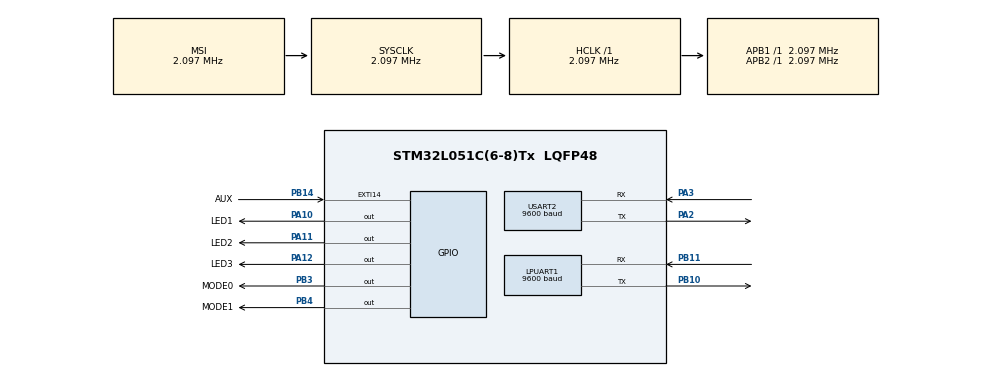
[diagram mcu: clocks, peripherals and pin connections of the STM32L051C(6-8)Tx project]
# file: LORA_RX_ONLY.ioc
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LPUART1.BaudRate=9600
LPUART1.WordLength=UART_WORDLENGTH_8B
Mcu.Family=STM32L0
Mcu.Name=STM32L051C(6-8)Tx
Mcu.Package=LQFP48
PA10.GPIO_Label=LED1
PA10.Signal=GPIO_Output
PA11.GPIO_Label=LED2
PA11.Signal=GPIO_Output
PA12.GPIO_Label=LED3
PA12.Signal=GPIO_Output
PA13.Mode=Serial_Wire
PA13.Signal=SYS_SWDIO
PA14.Mode=Serial_Wire
PA14.Signal=SYS_SWCLK
PA2.Mode=Asynchronous
PA2.Signal=USART2_TX
PA3.Mode=Asynchronous
PA3.Signal=USART2_RX
PB10.Mode=Asynchronous
PB10.Signal=LPUART1_TX
PB11.Mode=Asynchronous
PB11.Signal=LPUART1_RX
PB14.GPIO_Label=AUX
PB14.Signal=GPXTI14
PB3.GPIO_Label=MODE0
PB3.Signal=GPIO_Output
PB4.GPIO_Label=MODE1
PB4.Signal=GPIO_Output
ProjectManager.HeapSize=0x200
ProjectManager.StackSize=0x400
ProjectManager.TargetToolchain=STM32CubeIDE
RCC.AHBFreq_Value=2097000
RCC.APB1Freq_Value=2097000
RCC.APB1TimFreq_Value=2097000
RCC.APB2Freq_Value=2097000
RCC.APB2TimFreq_Value=2097000
RCC.HSE_VALUE=8000000
RCC.HSI16_VALUE=16000000
RCC.HSI_VALUE=16000000
RCC.LSE_VALUE=32768
RCC.MSI_VALUE=2097000
RCC.SYSCLKFreq_VALUE=2097000
RCC.VCOOutputFreq_Value=48000000
USART2.BaudRate=9600
USART2.VirtualMode-Asynchronous=VM_ASYNC
board=custom

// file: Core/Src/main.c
/* USER CODE BEGIN Header */
/**
 ******************************************************************************
 * @file           : main.c
 * @brief          : Main program body
 ******************************************************************************
 * @attention
 *
 * Copyright (c) 2024 STMicroelectronics.
 * All rights reserved.
 *
 * This software is licensed under terms that can be found in the LICENSE file
 * in the root directory of this software component.
 * If no LICENSE file comes with this software, it is provided AS-IS.
 *
 ******************************************************************************
 */
/* USER CODE END Header */
#include "main.h"

/* USER CODE BEGIN Includes */
#include "Lora.h"
/* USER CODE END Includes */

UART_HandleTypeDef hlpuart1;
UART_HandleTypeDef huart2;

void SystemClock_Config(void);
static void MX_GPIO_Init(void);
static void MX_LPUART1_UART_Init(void);
static void MX_USART2_UART_Init(void);

int main(void) {

	/* USER CODE BEGIN 1 */

	char message[200];          // Debug message buffer
	uint8_t lora[11];
	uint8_t rxBuffer[1];
	uint8_t transmitBuffer[20]; // Buffer to store modified data for transmission
	/* USER CODE END 1 */

	/* MCU Configuration--------------------------------------------------------*/

	/* Reset of all peripherals, Initializes the Flash interface and the Systick. */
	HAL_Init();

	/* Configure the system clock */
	SystemClock_Config();

	/* Initialize all configured peripherals */
	MX_GPIO_Init();
	MX_LPUART1_UART_Init();
	MX_USART2_UART_Init();
	/* USER CODE BEGIN 2 */
	LORA_MODE_M0_SET;
	LORA_MODE_M1_SET;
	HAL_Delay(1000);

	lora[0] = 0xc0;
	lora[1] = 0x00;
	lora[2] = 0x08;
	lora[3] = 0x00;
	lora[4] = 0x11;
	lora[5] = 0x67;
	lora[6] = 0x00;
	lora[7] = 0x12;
	lora[8] = 0x52;
	lora[9] = 0x00;
	lora[10] = 0x00;

	HAL_UART_Transmit(&hlpuart1, lora, 11, 2000);
	HAL_Delay(5000);

	LORA_MODE_M0_RESET;
	LORA_MODE_M1_RESET;

	HAL_Delay(1000);

	/* USER CODE END 2 */

	/* Infinite loop */
	/* USER CODE BEGIN WHILE */
	while (1) {
		// Clear rxBuffer
		rxBuffer[0] = 0;

		if (HAL_UART_Receive(&hlpuart1, rxBuffer, 1, 200) == HAL_OK) {
			// Blink LED1 to indicate data reception
			LED1_ON;
			HAL_Delay(100);

			// Prepare data for retransmission (prefix with 00, 16, 12)
			transmitBuffer[0] = 0x00;
			transmitBuffer[1] = 0x16;
			transmitBuffer[2] = 0x12;
			transmitBuffer[3] = rxBuffer[0]; // Add the received byte

			// Debug: Print received data to UART2
			sprintf(message, "Received from LoRa: %02d\r\n", rxBuffer[0]);
			port_debug_print(message);

			LED1_OFF;
			LED2_ON;

			// Transmit to LoRa (hlpuart1)
			HAL_UART_Transmit(&hlpuart1, transmitBuffer, 4, HAL_MAX_DELAY);
			HAL_Delay(200);
			LED2_OFF;
			// Turn off LED after processing
		}
		/* USER CODE END WHILE */

	}
}

void SystemClock_Config(void) {
	RCC_OscInitTypeDef RCC_OscInitStruct = { 0 };
	RCC_ClkInitTypeDef RCC_ClkInitStruct = { 0 };
	RCC_PeriphCLKInitTypeDef PeriphClkInit = { 0 };

	/** Configure the main internal regulator output voltage
	 */
	__HAL_PWR_VOLTAGESCALING_CONFIG(PWR_REGULATOR_VOLTAGE_SCALE1);

	/** Initializes the RCC Oscillators according to the specified parameters
	 * in the RCC_OscInitTypeDef structure.
	 */
	RCC_OscInitStruct.OscillatorType = RCC_OSCILLATORTYPE_MSI;
	RCC_OscInitStruct.MSIState = RCC_MSI_ON;
	RCC_OscInitStruct.MSICalibrationValue = 0;
	RCC_OscInitStruct.MSIClockRange = RCC_MSIRANGE_5;
	RCC_OscInitStruct.PLL.PLLState = RCC_PLL_NONE;
	if (HAL_RCC_OscConfig(&RCC_OscInitStruct) != HAL_OK) {
		Error_Handler();
	}

	/** Initializes the CPU, AHB and APB buses clocks
	 */
	RCC_ClkInitStruct.ClockType = RCC_CLOCKTYPE_HCLK | RCC_CLOCKTYPE_SYSCLK
			| RCC_CLOCKTYPE_PCLK1 | RCC_CLOCKTYPE_PCLK2;
	RCC_ClkInitStruct.SYSCLKSource = RCC_SYSCLKSOURCE_MSI;
	RCC_ClkInitStruct.AHBCLKDivider = RCC_SYSCLK_DIV1;
	RCC_ClkInitStruct.APB1CLKDivider = RCC_HCLK_DIV1;
	RCC_ClkInitStruct.APB2CLKDivider = RCC_HCLK_DIV1;

	if (HAL_RCC_ClockConfig(&RCC_ClkInitStruct, FLASH_LATENCY_0) != HAL_OK) {
		Error_Handler();
	}
	PeriphClkInit.PeriphClockSelection = RCC_PERIPHCLK_USART2
			| RCC_PERIPHCLK_LPUART1;
	PeriphClkInit.Usart2ClockSelection = RCC_USART2CLKSOURCE_PCLK1;
	PeriphClkInit.Lpuart1ClockSelection = RCC_LPUART1CLKSOURCE_PCLK1;
	if (HAL_RCCEx_PeriphCLKConfig(&PeriphClkInit) != HAL_OK) {
		Error_Handler();
	}
}

static void MX_LPUART1_UART_Init(void) {

	hlpuart1.Instance = LPUART1;
	hlpuart1.Init.BaudRate = 9600;
	hlpuart1.Init.WordLength = UART_WORDLENGTH_8B;
	hlpuart1.Init.StopBits = UART_STOPBITS_1;
	hlpuart1.Init.Parity = UART_PARITY_NONE;
	hlpuart1.Init.Mode = UART_MODE_TX_RX;
	hlpuart1.Init.HwFlowCtl = UART_HWCONTROL_NONE;
	hlpuart1.Init.OneBitSampling = UART_ONE_BIT_SAMPLE_DISABLE;
	hlpuart1.AdvancedInit.AdvFeatureInit = UART_ADVFEATURE_NO_INIT;
	if (HAL_UART_Init(&hlpuart1) != HAL_OK) {
		Error_Handler();
	}

}

static void MX_USART2_UART_Init(void) {

	huart2.Instance = USART2;
	huart2.Init.BaudRate = 9600;
	huart2.Init.WordLength = UART_WORDLENGTH_8B;
	huart2.Init.StopBits = UART_STOPBITS_1;
	huart2.Init.Parity = UART_PARITY_NONE;
	huart2.Init.Mode = UART_MODE_TX_RX;
	huart2.Init.HwFlowCtl = UART_HWCONTROL_NONE;
	huart2.Init.OverSampling = UART_OVERSAMPLING_16;
	huart2.Init.OneBitSampling = UART_ONE_BIT_SAMPLE_DISABLE;
	huart2.AdvancedInit.AdvFeatureInit = UART_ADVFEATURE_NO_INIT;
	if (HAL_UART_Init(&huart2) != HAL_OK) {
		Error_Handler();
	}

}

static void MX_GPIO_Init(void) {
	GPIO_InitTypeDef GPIO_InitStruct = { 0 };

	/* GPIO Ports Clock Enable */
	__HAL_RCC_GPIOA_CLK_ENABLE();
	__HAL_RCC_GPIOB_CLK_ENABLE();

	/*Configure GPIO pin Output Level */
	HAL_GPIO_WritePin(GPIOA, LED1_Pin | LED2_Pin | LED3_Pin, GPIO_PIN_RESET);

	/*Configure GPIO pin Output Level */
	HAL_GPIO_WritePin(GPIOB, MODE0_Pin | MODE1_Pin, GPIO_PIN_RESET);

	/*Configure GPIO pin : AUX_Pin */
	GPIO_InitStruct.Pin = AUX_Pin;
	GPIO_InitStruct.Mode = GPIO_MODE_IT_RISING;
	GPIO_InitStruct.Pull = GPIO_NOPULL;
	HAL_GPIO_Init(AUX_GPIO_Port, &GPIO_InitStruct);

	/*Configure GPIO pins : LED1_Pin LED2_Pin LED3_Pin */
	GPIO_InitStruct.Pin = LED1_Pin | LED2_Pin | LED3_Pin;
	GPIO_InitStruct.Mode = GPIO_MODE_OUTPUT_PP;
	GPIO_InitStruct.Pull = GPIO_NOPULL;
	GPIO_InitStruct.Speed = GPIO_SPEED_FREQ_LOW;
	HAL_GPIO_Init(GPIOA, &GPIO_InitStruct);

	/*Configure GPIO pins : MODE0_Pin MODE1_Pin */
	GPIO_InitStruct.Pin = MODE0_Pin | MODE1_Pin;
	GPIO_InitStruct.Mode = GPIO_MODE_OUTPUT_PP;
	GPIO_InitStruct.Pull = GPIO_NOPULL;
	GPIO_InitStruct.Speed = GPIO_SPEED_FREQ_LOW;
	HAL_GPIO_Init(GPIOB, &GPIO_InitStruct);

}

/* USER CODE BEGIN 4 */
void HAL_UART_RxCpltCallback(UART_HandleTypeDef *huart) {
	if (huart->Instance == LPUART1) { // Check if the callback is for LPUART1
		LED1_ON;
	}
}
/* USER CODE END 4 */

void Error_Handler(void) {
	__disable_irq();
	while (1) {
	}
}
